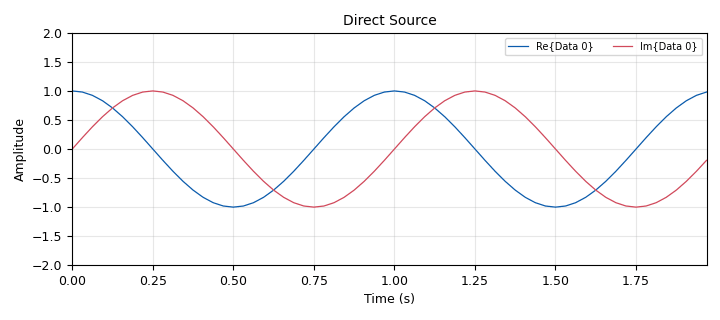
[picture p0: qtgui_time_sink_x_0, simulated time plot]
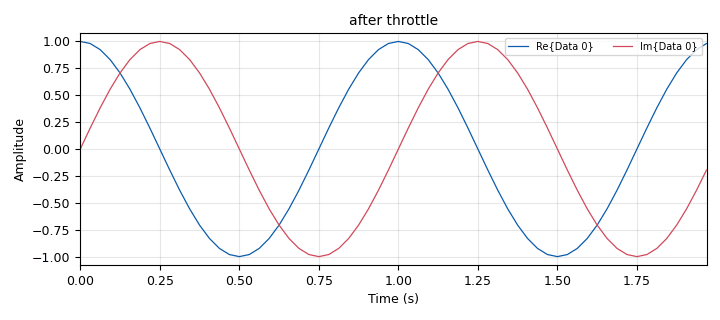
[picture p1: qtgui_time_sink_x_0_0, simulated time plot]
options:
  parameters:
    author: yabool2001
    copyright: maciej.zemlo@gmail.pl
    description: Prosty modulator ASK
    generate_options: qt_gui
    id: test_ask_01
    output_language: python
    title: Test of ASK modulator
  states: {}

blocks:
- name: a
  id: variable
  parameters:
    value: '.5'
  states: {}
- name: fc
  id: variable
  parameters:
    value: '1'
  states: {}
- name: n
  id: variable
  parameters:
    value: 2*samp_rate
  states: {}
- name: samp_rate
  id: variable
  parameters:
    value: '32'
  states: {}
- name: analog_sig_source_x_0
  id: analog_sig_source_x
  parameters:
    amp: '1'
    freq: '1'
    offset: '0'
    phase: '0'
    samp_rate: '10'
    type: complex
    waveform: analog.GR_SQR_WAVE
  states: {state: disabled}
- name: analog_sig_source_x_0_0
  id: analog_sig_source_x
  parameters:
    amp: '1'
    freq: fc
    offset: '0'
    phase: '0'
    samp_rate: samp_rate
    type: complex
    waveform: analog.GR_SIN_WAVE
  states: {}
- name: blocks_throttle2_0
  id: blocks_throttle2
  parameters:
    samples_per_second: samp_rate
    type: complex
  states: {}
- name: qtgui_time_sink_x_0
  id: qtgui_time_sink_x
  parameters:
    name: '"Direct Source"'
    size: n
    srate: samp_rate
    type: complex
    ymax: '2'
    ymin: '-2'
  states: {}
- name: qtgui_time_sink_x_0_0
  id: qtgui_time_sink_x
  parameters:
    name: '"after throttle"'
    size: n
    srate: samp_rate
    type: complex
  states: {}

connections:
- [analog_sig_source_x_0_0, '0', blocks_throttle2_0, '0']
- [analog_sig_source_x_0_0, '0', qtgui_time_sink_x_0, '0']
- [blocks_throttle2_0, '0', qtgui_time_sink_x_0_0, '0']

metadata:
  file_format: 1
  grc_version: 3.10.10.0
